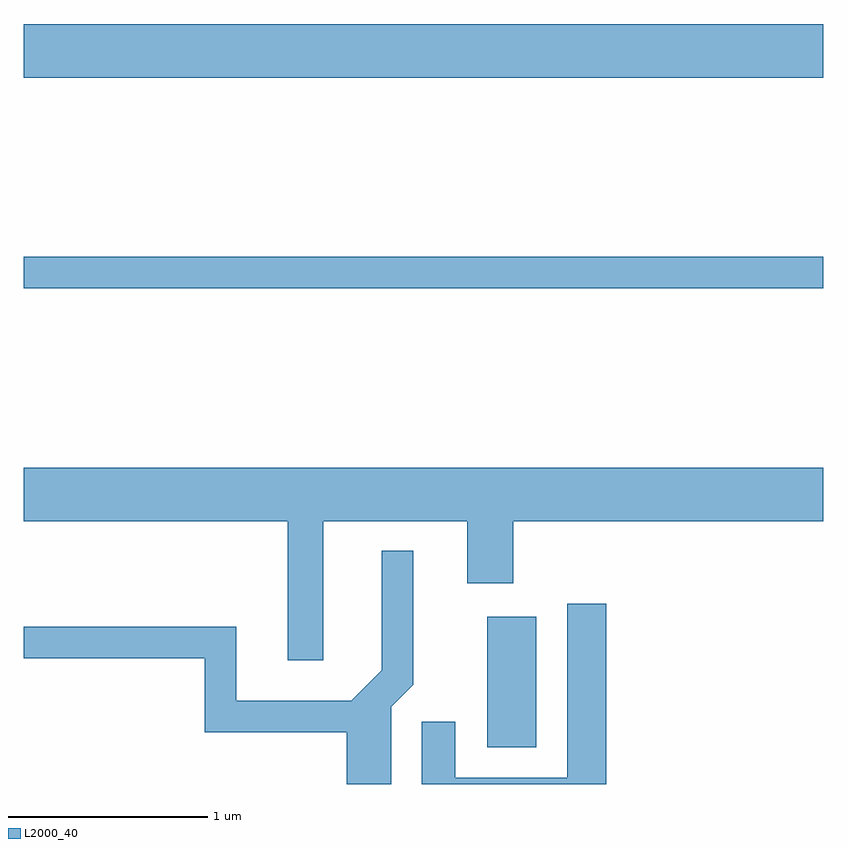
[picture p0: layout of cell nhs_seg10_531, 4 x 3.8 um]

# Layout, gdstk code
import gdstk
lib = gdstk.Library(unit=1e-6, precision=1e-09)
def R(c, l, rs):  # rectangles x0, y0, x1, y1
    for r in rs: c.add(gdstk.rectangle(r[:2], r[2:], *l))
def P(c, l, *ps):  # polygons
    for p in ps: c.add(gdstk.Polygon(p, *l))
L2000_40 = (2000, 40)

nhs_seg10_531 = lib.new_cell('nhs_seg10_531')
R(nhs_seg10_531, L2000_40, [(201.931,2192.706,202.174,2193.359), (199.611,2195.001,203.611,2195.159), (199.611,2196.056,203.611,2196.324)])
P(nhs_seg10_531, L2000_40, [(201.109,2193.836),(201.831,2193.836),(201.831,2193.526),(202.059,2193.526),(202.059,2193.836),(203.611,2193.836),(203.611,2194.104),(199.611,2194.104),(199.611,2193.836),(200.931,2193.836),(200.931,2193.141),(201.109,2193.141)],
  [(201.449,2192.909),(201.559,2193.019),(201.559,2193.688),(201.401,2193.688),(201.401,2193.092),(201.249,2192.939),(200.674,2192.939),(200.674,2193.309),(199.611,2193.309),(199.611,2193.151),(200.516,2193.151),(200.516,2192.781),(201.226,2192.781),(201.226,2192.522),(201.449,2192.522)],
  [(202.524,2193.424),(202.331,2193.424),(202.331,2192.554),(201.769,2192.554),(201.769,2192.833),(201.601,2192.833),(201.601,2192.522),(202.524,2192.522)])

lib.write_gds('nhs_seg10_531.gds')
